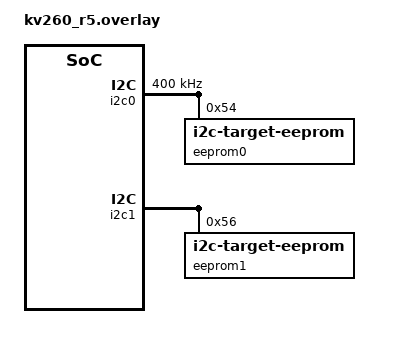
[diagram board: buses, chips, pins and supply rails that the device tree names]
/*
 * Copyright (c) 2025 Advanced Micro Devices, Inc.
 *
 * SPDX-License-Identifier: Apache-2.0
 */

/* Note: To test this sample, connect SCL, SDA pins of I2C0 and I2C1 in loopback */

#include <zephyr/dt-bindings/i2c/i2c.h>

/delete-node/ &eeprom0;
/delete-node/ &eeprom1;

&i2c0 {
	status = "okay";
	clocks = <&i2c_ref_clk>;
	clock-frequency = <I2C_BITRATE_FAST>;

	eeprom0: eeprom@54 {
		compatible = "zephyr,i2c-target-eeprom";
		reg = <0x54>;
		size = <256>;
	};
};

&i2c1 {
	eeprom1: eeprom@56 {
		compatible = "zephyr,i2c-target-eeprom";
		reg = <0x56>;
		size = <256>;
	};
};
